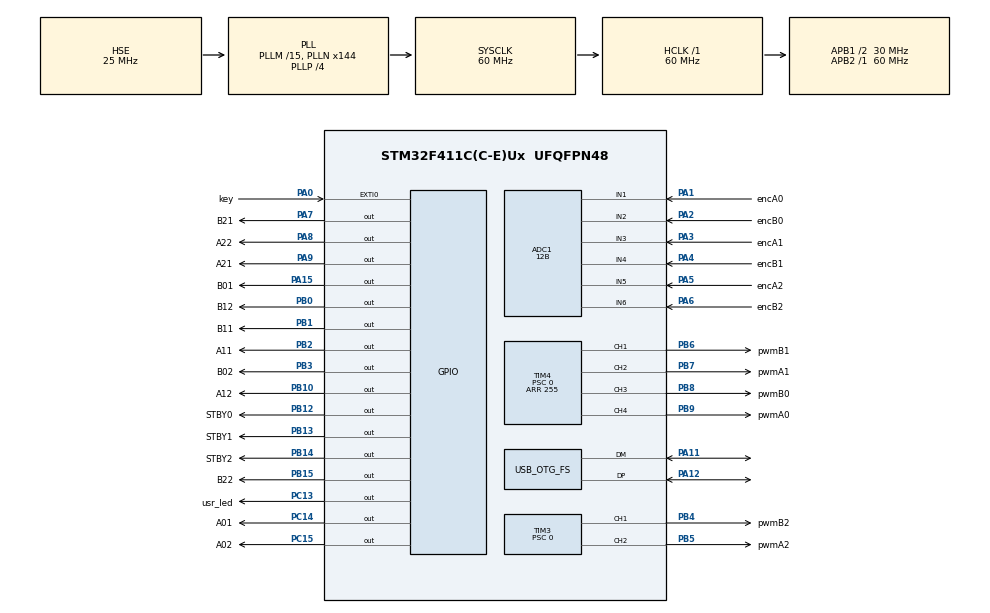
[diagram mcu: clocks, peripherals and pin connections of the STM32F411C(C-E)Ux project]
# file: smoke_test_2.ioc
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ADC1.Channel-0\#ChannelRegularConversion=ADC_CHANNEL_1
ADC1.Channel-1\#ChannelRegularConversion=ADC_CHANNEL_2
ADC1.Channel-2\#ChannelRegularConversion=ADC_CHANNEL_3
ADC1.Channel-3\#ChannelRegularConversion=ADC_CHANNEL_4
ADC1.Channel-4\#ChannelRegularConversion=ADC_CHANNEL_5
ADC1.Channel-5\#ChannelRegularConversion=ADC_CHANNEL_6
ADC1.ContinuousConvMode=ENABLE
ADC1.DMAContinuousRequests=ENABLE
ADC1.NbrOfConversion=6
ADC1.NbrOfConversionFlag=1
ADC1.Rank-0\#ChannelRegularConversion=1
ADC1.Rank-1\#ChannelRegularConversion=2
ADC1.Rank-2\#ChannelRegularConversion=3
ADC1.Rank-3\#ChannelRegularConversion=4
ADC1.Rank-4\#ChannelRegularConversion=5
ADC1.Rank-5\#ChannelRegularConversion=6
ADC1.Resolution=ADC_RESOLUTION_12B
ADC1.SamplingTime-0\#ChannelRegularConversion=ADC_SAMPLETIME_480CYCLES
ADC1.SamplingTime-1\#ChannelRegularConversion=ADC_SAMPLETIME_480CYCLES
ADC1.SamplingTime-2\#ChannelRegularConversion=ADC_SAMPLETIME_480CYCLES
ADC1.SamplingTime-3\#ChannelRegularConversion=ADC_SAMPLETIME_480CYCLES
ADC1.SamplingTime-4\#ChannelRegularConversion=ADC_SAMPLETIME_480CYCLES
ADC1.SamplingTime-5\#ChannelRegularConversion=ADC_SAMPLETIME_480CYCLES
ADC1.ScanConvMode=ENABLE
ADC1.master=1
Dma.ADC1.0.Direction=DMA_PERIPH_TO_MEMORY
Dma.ADC1.0.FIFOMode=DMA_FIFOMODE_DISABLE
Dma.ADC1.0.Instance=DMA2_Stream0
Dma.ADC1.0.MemDataAlignment=DMA_MDATAALIGN_WORD
Dma.ADC1.0.MemInc=DMA_MINC_ENABLE
Dma.ADC1.0.Mode=DMA_CIRCULAR
Dma.ADC1.0.PeriphDataAlignment=DMA_PDATAALIGN_WORD
Dma.ADC1.0.PeriphInc=DMA_PINC_DISABLE
Dma.ADC1.0.Priority=DMA_PRIORITY_LOW
Dma.Request0=ADC1
Mcu.Family=STM32F4
Mcu.Name=STM32F411C(C-E)Ux
Mcu.Package=UFQFPN48
NVIC.EXTI0_IRQn=true\:0\:0\:false\:false\:true\:true\:true\:true
NVIC.OTG_FS_IRQn=true\:0\:0\:true\:false\:true\:false\:true\:true
NVIC.PriorityGroup=NVIC_PRIORITYGROUP_4
PA0-WKUP.GPIO_Label=key
PA0-WKUP.GPIO_PuPd=GPIO_PULLUP
PA0-WKUP.Signal=GPXTI0
PA1.GPIO_Label=encA0
PA1.Signal=ADCx_IN1
PA11.Mode=Device_Only
PA11.Signal=USB_OTG_FS_DM
PA12.Mode=Device_Only
PA12.Signal=USB_OTG_FS_DP
PA13.Mode=Serial_Wire
PA13.Signal=SYS_JTMS-SWDIO
PA14.Mode=Serial_Wire
PA14.Signal=SYS_JTCK-SWCLK
PA15.GPIO_Label=B01
PA15.Signal=GPIO_Output
PA2.GPIO_Label=encB0
PA2.Signal=ADCx_IN2
PA3.GPIO_Label=encA1
PA3.Signal=ADCx_IN3
PA4.GPIO_Label=encB1
PA4.Signal=ADCx_IN4
PA5.GPIO_Label=encA2
PA5.Signal=ADCx_IN5
PA6.GPIO_Label=encB2
PA6.Signal=ADCx_IN6
PA7.GPIO_Label=B21
PA7.Signal=GPIO_Output
PA8.GPIO_Label=A22
PA8.Signal=GPIO_Output
PA9.GPIO_Label=A21
PA9.Signal=GPIO_Output
PB0.GPIO_Label=B12
PB0.Signal=GPIO_Output
PB1.GPIO_Label=B11
PB1.Signal=GPIO_Output
PB10.GPIO_Label=A12
PB10.Signal=GPIO_Output
PB12.GPIO_Label=STBY0
PB12.Signal=GPIO_Output
PB13.GPIO_Label=STBY1
PB13.Signal=GPIO_Output
PB14.GPIO_Label=STBY2
PB14.Signal=GPIO_Output
PB15.GPIO_Label=B22
PB15.Signal=GPIO_Output
PB2.GPIO_Label=A11
PB2.Signal=GPIO_Output
PB3.GPIO_Label=B02
PB3.Signal=GPIO_Output
PB4.GPIO_Label=pwmB2
PB4.Signal=S_TIM3_CH1
PB5.GPIO_Label=pwmA2
PB5.Signal=S_TIM3_CH2
PB6.GPIO_Label=pwmB1
PB6.Signal=S_TIM4_CH1
PB7.GPIO_Label=pwmA1
PB7.Signal=S_TIM4_CH2
PB8.GPIO_Label=pwmB0
PB8.Signal=S_TIM4_CH3
PB9.GPIO_Label=pwmA0
PB9.Signal=S_TIM4_CH4
PC13-ANTI_TAMP.GPIO_Label=usr_led
PC13-ANTI_TAMP.Signal=GPIO_Output
PC14-OSC32_IN.GPIO_Label=A01
PC14-OSC32_IN.Signal=GPIO_Output
PC15-OSC32_OUT.GPIO_Label=A02
PC15-OSC32_OUT.Signal=GPIO_Output
PH0\ -\ OSC_IN.Mode=HSE-External-Oscillator
PH0\ -\ OSC_IN.Signal=RCC_OSC_IN
PH1\ -\ OSC_OUT.Mode=HSE-External-Oscillator
PH1\ -\ OSC_OUT.Signal=RCC_OSC_OUT
ProjectManager.HeapSize=0x200
ProjectManager.StackSize=0x400
ProjectManager.TargetToolchain=CMake
RCC.48MHZClocksFreq_Value=48000000
RCC.AHBFreq_Value=60000000
RCC.APB1CLKDivider=RCC_HCLK_DIV2
RCC.APB1Freq_Value=30000000
RCC.APB1TimFreq_Value=60000000
RCC.APB2Freq_Value=60000000
RCC.APB2TimFreq_Value=60000000
RCC.CortexFreq_Value=60000000
RCC.HCLKFreq_Value=60000000
RCC.HSE_VALUE=25000000
RCC.HSI_VALUE=16000000
RCC.LSE_VALUE=32768
RCC.PLLM=15
RCC.PLLN=144
RCC.PLLP=RCC_PLLP_DIV4
RCC.PLLQ=5
RCC.SYSCLKFreq_VALUE=60000000
RCC.SYSCLKSource=RCC_SYSCLKSOURCE_PLLCLK
RCC.VCOOutputFreq_Value=240000000
SH.ADCx_IN1.0=ADC1_IN1,IN1
SH.ADCx_IN2.0=ADC1_IN2,IN2
SH.ADCx_IN3.0=ADC1_IN3,IN3
SH.ADCx_IN4.0=ADC1_IN4,IN4
SH.ADCx_IN5.0=ADC1_IN5,IN5
SH.ADCx_IN6.0=ADC1_IN6,IN6
SH.S_TIM3_CH1.0=TIM3_CH1,PWM Generation1 CH1
SH.S_TIM3_CH2.0=TIM3_CH2,PWM Generation2 CH2
SH.S_TIM4_CH1.0=TIM4_CH1,PWM Generation1 CH1
SH.S_TIM4_CH2.0=TIM4_CH2,PWM Generation2 CH2
SH.S_TIM4_CH3.0=TIM4_CH3,PWM Generation3 CH3
SH.S_TIM4_CH4.0=TIM4_CH4,PWM Generation4 CH4
TIM3.AutoReloadPreload=TIM_AUTORELOAD_PRELOAD_ENABLE
TIM3.Channel-PWM\ Generation1\ CH1=TIM_CHANNEL_1
TIM3.Channel-PWM\ Generation2\ CH2=TIM_CHANNEL_2
TIM3.Period=255
TIM3.Prescaler=0
TIM4.AutoReloadPreload=TIM_AUTORELOAD_PRELOAD_ENABLE
TIM4.Channel-PWM\ Generation1\ CH1=TIM_CHANNEL_1
TIM4.Channel-PWM\ Generation2\ CH2=TIM_CHANNEL_2
TIM4.Channel-PWM\ Generation3\ CH3=TIM_CHANNEL_3
TIM4.Channel-PWM\ Generation4\ CH4=TIM_CHANNEL_4
TIM4.Period=255
TIM4.Prescaler=0
USB_DEVICE.CLASS_NAME_FS=CDC
USB_DEVICE.VirtualMode=Cdc
USB_DEVICE.VirtualModeFS=Cdc_FS
USB_OTG_FS.VirtualMode=Device_Only
VP_USB_DEVICE_VS_USB_DEVICE_CDC_FS.Mode=CDC_FS
board=custom

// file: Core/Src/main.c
/* USER CODE BEGIN Header */
/* USER CODE END Header */
#include "main.h"
#include "usb_device.h"

/* USER CODE BEGIN Includes */
#include "usbd_cdc_if.h"
#include <stdint.h>
#include <string.h>
#include <stdio.h>
#include <microrl.h>
extern uint8_t UserRxBufferFS[APP_RX_DATA_SIZE];
/* USER CODE END Includes */

ADC_HandleTypeDef hadc1;
DMA_HandleTypeDef hdma_adc1;

TIM_HandleTypeDef htim3;
TIM_HandleTypeDef htim4;

/* USER CODE BEGIN PV */
// create microrl object and pointer on it
microrl_t rl;
microrl_t * prl = &rl;
/* USER CODE END PV */

void SystemClock_Config(void);
static void MX_GPIO_Init(void);
static void MX_DMA_Init(void);
static void MX_ADC1_Init(void);
static void MX_TIM3_Init(void);
static void MX_TIM4_Init(void);

/* USER CODE BEGIN 0 */

/* --------------- motor control ---------------*/

typedef struct {
uint8_t pwm;
uint8_t direction;
uint16_t pos;

uint16_t target_pos;
uint8_t target_pwm;    // (speed limit)
uint8_t pos_control;   // (enable flag)

uint16_t pos_start;
uint16_t pos_end;
uint8_t flip_dir;
} MotorState;

MotorState motors[6]; // 0:M0A, 1:M0B, 2:M1A, 3:M1B, 4:M2A, 5:M2B

uint8_t resolve_dir(MotorState* m)
{
    if (m->flip_dir)
        return (m->direction == 0) ? 1 : (m->direction == 1) ? 0 : m->direction;
    return m->direction;
}

void motor_control(MotorState* m)
{
    GPIO_PinState in1_state[4] = {GPIO_PIN_SET, GPIO_PIN_RESET, GPIO_PIN_SET, GPIO_PIN_RESET};
    GPIO_PinState in2_state[4] = {GPIO_PIN_RESET, GPIO_PIN_SET, GPIO_PIN_SET, GPIO_PIN_RESET};

    uint8_t d;

    d = resolve_dir(&m[0]);
    HAL_GPIO_WritePin(A01_GPIO_Port, A01_Pin, in1_state[d]);
    HAL_GPIO_WritePin(A02_GPIO_Port, A02_Pin, in2_state[d]);
    TIM4->CCR4 = m[0].pwm;

    d = resolve_dir(&m[1]);
    HAL_GPIO_WritePin(B01_GPIO_Port, B01_Pin, in1_state[d]);
    HAL_GPIO_WritePin(B02_GPIO_Port, B02_Pin, in2_state[d]);
    TIM4->CCR3 = m[1].pwm;

    d = resolve_dir(&m[2]);
    HAL_GPIO_WritePin(A11_GPIO_Port, A11_Pin, in1_state[d]);
    HAL_GPIO_WritePin(A12_GPIO_Port, A12_Pin, in2_state[d]);
    TIM4->CCR2 = m[2].pwm;

    d = resolve_dir(&m[3]);
    HAL_GPIO_WritePin(B11_GPIO_Port, B11_Pin, in1_state[d]);
    HAL_GPIO_WritePin(B12_GPIO_Port, B12_Pin, in2_state[d]);
    TIM4->CCR1 = m[3].pwm;

    d = resolve_dir(&m[4]);
    HAL_GPIO_WritePin(A21_GPIO_Port, A21_Pin, in1_state[d]);
    HAL_GPIO_WritePin(A22_GPIO_Port, A22_Pin, in2_state[d]);
    TIM3->CCR2 = m[4].pwm;

    d = resolve_dir(&m[5]);
    HAL_GPIO_WritePin(B21_GPIO_Port, B21_Pin, in1_state[d]);
    HAL_GPIO_WritePin(B22_GPIO_Port, B22_Pin, in2_state[d]);
    TIM3->CCR1 = m[5].pwm;

    // STBY uses resolved direction too
    HAL_GPIO_WritePin(STBY0_GPIO_Port, STBY0_Pin, (resolve_dir(&m[0]) == 3 && resolve_dir(&m[1]) == 3) ? GPIO_PIN_RESET : GPIO_PIN_SET);
    HAL_GPIO_WritePin(STBY1_GPIO_Port, STBY1_Pin, (resolve_dir(&m[2]) == 3 && resolve_dir(&m[3]) == 3) ? GPIO_PIN_RESET : GPIO_PIN_SET);
    HAL_GPIO_WritePin(STBY2_GPIO_Port, STBY2_Pin, (resolve_dir(&m[4]) == 3 && resolve_dir(&m[5]) == 3) ? GPIO_PIN_RESET : GPIO_PIN_SET);
}

uint16_t pos_deadband = 10;   // acceptable error
uint8_t pos_kp = 2;          // gain (tune this)

void position_control()
{
    for (int i = 0; i < 6; i++)
    {
        if (!motors[i].pos_control)
            continue;

        int error = motors[i].target_pos - motors[i].pos;

        if (error > pos_deadband)
        {
            motors[i].direction = 1;
            int pwm = error * pos_kp;

            if (pwm > motors[i].target_pwm)
                pwm = motors[i].target_pwm;

            motors[i].pwm = pwm;
        }
        else if (error < -pos_deadband)
        {
            motors[i].direction = 0;
            int pwm = (-error) * pos_kp;

            if (pwm > motors[i].target_pwm)
                pwm = motors[i].target_pwm;

            motors[i].pwm = pwm;
        }
        else
        {
            // reached position
            motors[i].pwm = 0;
        }
    }
}

/* ------------ encoder input ------------ */

// circular buffer per channel
uint16_t median_buf[6][3] = {0};
uint8_t median_idx[6] = {0};

uint16_t median3(uint16_t a, uint16_t b, uint16_t c)
{
    if (a > b) { uint16_t t = a; a = b; b = t; }
    if (b > c) { uint16_t t = b; b = c; c = t; }
    if (a > b) { uint16_t t = a; a = b; b = t; }
    return b;  // middle value
}

uint32_t AD_RES_BUFFER[6] = {0};

uint8_t enable_adc_filter = 1;

// Spike rejection
uint16_t spike_threshold = 30;

// Smoothing strength (1–255)
// higher = smoother but slower
uint8_t smooth_k = 10;

// Deadband (kills small noise completely)
uint16_t deadband = 12;

// Optional max step (rate limiter) (sets the max speed of the motor basically)
uint16_t max_step = 20;
uint8_t enable_rate_limit = 0;

uint16_t adc_filtered[6] = {0};
uint8_t adc_initialized[6] = {0};

// uint16_t debug_raw = 0;
// uint16_t debug_prev = 0;
// uint16_t debug_AD_RES_BUFFER = 0;
// int debug_count  = 0;

uint16_t spike_start_delay = 200;  // tune this
uint16_t adc_init_count[6] = {0};

void read_ADC()
{
    for (int i = 0; i < 6; i++)
    {
        uint16_t raw = (uint16_t)AD_RES_BUFFER[i];
        // debug_raw = raw;

        uint16_t prev = adc_filtered[i];
        // debug_prev = prev;

        if (enable_adc_filter)
        {
            // ---- 0. median filtering ----
            // feed the buffer
            median_buf[i][median_idx[i]] = raw;
            median_idx[i] = (median_idx[i] + 1) % 3;

            // use median as raw from here on
            raw = median3(median_buf[i][0], median_buf[i][1], median_buf[i][2]);

            // ---- 1. Spike rejection (delayed start) ----
            if (adc_init_count[i] < spike_start_delay)
            {
                adc_init_count[i]++;
            }
            else
            {
                if (raw > prev + spike_threshold || raw + spike_threshold < prev)
                    raw = prev;
            }

            // ---- 2. Deadband (this is what reduces "range to ~0") ----
            if (raw > prev)
            {
                if (raw - prev < deadband)
                    raw = prev;
            }
            else
            {
                if (prev - raw < deadband)
                    raw = prev;
            }

            // ---- 3. Exponential smoothing ----
            // new = (k*prev + raw) / (k+1)
            uint16_t filtered = (prev * smooth_k + raw) / (smooth_k + 1);

            // ---- 4. Optional rate limiter ----
            if (enable_rate_limit)
            {
                if (filtered > prev + max_step)
                    filtered = prev + max_step;
                else if (filtered + max_step < prev)
                    filtered = prev - max_step;
            }

            adc_filtered[i] = filtered;
            motors[i].pos = filtered;
        }
        else
        {
            motors[i].pos = raw;
            adc_filtered[i] = raw;
        }
    }
}

/*-------------------- adc filter analysis --------------------*/
    // #define VAR_SAMPLES 8
    int var_samples = 64;
    int var_to_check = 0;

    uint16_t adc_prev[6] = {0};
    uint32_t adc_diff_sum[6] = {0};
    uint16_t adc_variation[6] = {0};
    uint16_t var_count[6] = {0};   // per-channel counter

    void measure_adc_variation(uint8_t idx)
    {
        uint16_t curr = (uint16_t)AD_RES_BUFFER[idx];
        uint16_t prev = adc_prev[idx];

        uint16_t diff;
        if (curr > prev) diff = curr - prev;
        else diff = prev - curr;

        adc_diff_sum[idx] += diff;
        adc_prev[idx] = curr;

        var_count[idx]++;

        if (var_count[idx] >= var_samples)
        {
            adc_variation[idx] = adc_diff_sum[idx] / var_samples;
            adc_diff_sum[idx] = 0;
            var_count[idx] = 0;
        }
    }

    // ----- RANGE CONFIG -----
    int range_samples = 64;
    int range_to_check = 0;

    // ----- RANGE STATE -----
    uint16_t adc_range_min[6] = {65535,65535,65535,65535,65535,65535};
    uint16_t adc_range_max[6] = {0};
    uint16_t adc_range[6] = {0};
    uint16_t range_count[6] = {0};

    // ----- FUNCTION -----
    void measure_adc_range(uint8_t idx)
    {
        uint16_t curr = (uint16_t)AD_RES_BUFFER[idx];

        // track min
        if (curr < adc_range_min[idx])
        {
            adc_range_min[idx] = curr;
        }

        // track max
        if (curr > adc_range_max[idx])
        {
            adc_range_max[idx] = curr;
        }

        range_count[idx]++;

        if (range_count[idx] >= range_samples)
        {
            adc_range[idx] = adc_range_max[idx] - adc_range_min[idx];

            // reset window
            adc_range_min[idx] = 65535;
            adc_range_max[idx] = 0;
            range_count[idx] = 0;
        }
    }

void HAL_GPIO_EXTI_Callback(uint16_t GPIO_Pin)
{
    if (GPIO_Pin == key_Pin)
    {
        HAL_GPIO_TogglePin(usr_led_GPIO_Port, usr_led_Pin);
    }
}

// void HAL_ADC_ConvCpltCallback(ADC_HandleTypeDef* hadc)
// {
//     adc_flag = 1;
// }

/*----------------microrl and USB CDC----------------*/

    uint8_t TxBuffer[] = "Hello World! From STM32 USB CDC Device To Virtual COM Port\r\n";
    volatile uint8_t usb_rx_flag = 0;
    uint32_t usb_rx_len = 0;

    #define RX_BUF_SIZE 256

    uint8_t rx_buf[RX_BUF_SIZE];
    volatile uint16_t rx_head = 0;
    volatile uint16_t rx_tail = 0;

    void USB_CDC_RxHandler(uint8_t* Buf, uint32_t Len)
    {
        for (uint32_t i = 0; i < Len; i++)
        {
            uint16_t next = (rx_head + 1) % RX_BUF_SIZE;

            if (next != rx_tail)   // avoid overflow
            {
                rx_buf[rx_head] = Buf[i];
                rx_head = next;
            }
        }
    }

    char debug_argv_id[4];

    int get_motor_index(const char* id)
    {
        if      (strcmp(id, "M0A") == 0) return 0;
        else if (strcmp(id, "M0B") == 0) return 1;
        else if (strcmp(id, "M1A") == 0) return 2;
        else if (strcmp(id, "M1B") == 0) return 3;
        else if (strcmp(id, "M2A") == 0) return 4;
        else if (strcmp(id, "M2B") == 0) return 5;

        return -1;
    }

    void print(const char * str)
    {
        while (CDC_Transmit_FS((uint8_t*)str, strlen(str)) == USBD_BUSY);
    }

    volatile uint8_t sigint_flag = 0;

    void sigint(void)
    {
        memset(motors, 0, sizeof(motors));
        sigint_flag = 1;
    }

    typedef enum {
        PARAM_U8,
        PARAM_U16,
        PARAM_INT
    } ParamType;

    typedef struct {
        const char* name;
        void* ptr;
        ParamType type;
    } Param;

    Param params[] = {
        {"spike_threshold", &spike_threshold, PARAM_U16},
        {"enable_adc_filter", &enable_adc_filter, PARAM_U8},
        {"var_samples", &var_samples, PARAM_INT},
        {"var_to_check", &var_to_check, PARAM_INT},
        {"range_samples", &range_samples, PARAM_INT},
        {"range_to_check", &range_to_check, PARAM_INT},
        {"smooth_k", &smooth_k, PARAM_U8},
        {"deadband", &deadband, PARAM_U16},
        {"max_step", &max_step, PARAM_U16},
        {"enable_rate_limit", &enable_rate_limit, PARAM_U8},
        {"spike_start_delay", &spike_start_delay, PARAM_U16},
        {"pos_deadband", &pos_deadband, PARAM_U16},
        {"pos_kp", &pos_kp, PARAM_U8}
    };

    #define PARAM_COUNT (sizeof(params) / sizeof(params[0]))

    int execute(int argc, const char * const *argv)
    {
        if (argc == 0) return 0;

        // ---------------- setmotor ----------------
        if (strcmp(argv[0], "setmotor") == 0)
        {
            if (argc != 4)
            {
                print("Usage: setmotor <motor> <pwm> <dir>\n");
                return 0;
            }

            int index = get_motor_index(argv[1]);
            if (index == -1)
            {
                print("Invalid motor\n");
                return 0;
            }

            int pwm = atoi(argv[2]);
            int dir = atoi(argv[3]);

            motors[index].pwm = pwm;
            motors[index].direction = dir;

            print("OK\n");
            return 1;
        }

        // ---------------- stop ----------------
        if (strcmp(argv[0], "stop") == 0)
        {
            if (argc == 1)
            {
                memset(motors, 0, sizeof(motors));
                print("All motors stopped\n");
                return 1;
            }

            if (argc == 2)
            {
                int index = get_motor_index(argv[1]);
                if (index == -1)
                {
                    print("Invalid motor\n");
                    return 0;
                }

                motors[index].pwm = 0;
                motors[index].direction = 0;

                print("Motor stopped\n");
                return 1;
            }

            print("Usage: stop [motor]\n");
            return 0;
        }

        // ---------------- setparam ----------------
        if (strcmp(argv[0], "setparam") == 0)
        {
            if (argc != 3)
            {
                print("Usage: setparam <param> <value>\n");
                return 0;
            }

            int value = atoi(argv[2]);

            for (int i = 0; i < PARAM_COUNT; i++)
            {
                if (strcmp(argv[1], params[i].name) == 0)
                {
                    switch (params[i].type)
                        {
                            case PARAM_U8:
                                *(uint8_t*)params[i].ptr = (uint8_t)value;
                                break;

                            case PARAM_U16:
                                *(uint16_t*)params[i].ptr = (uint16_t)value;
                                break;

                            case PARAM_INT:
                                *(int*)params[i].ptr = value;
                                break;
                        }
                    print("OK\n");
                    return 1;
                }
            }

            print("Unknown parameter\n");
            return 0;
        }

        // ---------------- getparam ----------------
        if (strcmp(argv[0], "getparam") == 0)
        {
            if (argc != 2)
            {
                print("Usage: getparam <param>\n");
                return 0;
            }

            char buf[32];

            for (int i = 0; i < PARAM_COUNT; i++)
            {
                if (strcmp(argv[1], params[i].name) == 0)
                {
                    int val = 0;
                    switch (params[i].type)
                    {
                        case PARAM_U8:
                            val = *(uint8_t*)params[i].ptr;
                            break;

                        case PARAM_U16:
                            val = *(uint16_t*)params[i].ptr;
                            break;

                        case PARAM_INT:
                            val = *(int*)params[i].ptr;
                            break;
                    }
                    sprintf(buf, "%d\n", val);
                    print(buf);
                    return 1;
                }
            }

            print("Unknown parameter\n");
            return 0;
        }
        // ---------------- listparams ----------------
        if (strcmp(argv[0], "listparams") == 0)
        {
            char buf[256];
            int len = 0;

            for (int i = 0; i < PARAM_COUNT; i++)
            {
                int written = snprintf(buf + len, sizeof(buf) - len, "%s\r\n", params[i].name);

                if (written <= 0 || len + written >= sizeof(buf))
                    break;

                len += written;
            }

            print(buf);
            return 1;
        }

        // ----------------- setpos ----------------

        if (strcmp(argv[0], "setpos") == 0)
        {
            if (argc != 4)
            {
                print("Usage: setpos <motor> <pos> <speed>\n");
                return 0;
            }

            int index = get_motor_index(argv[1]);
            if (index == -1)
            {
                print("Invalid motor\n");
                return 0;
            }

            int pos = atoi(argv[2]);
            int speed = atoi(argv[3]);

            motors[index].target_pos = pos;
            motors[index].target_pwm = speed;
            motors[index].pos_control = 1;

            print("OK\n");
            return 1;
        }

        // ----------------- getpos ----------------
        if (strcmp(argv[0], "getpos") == 0)
        {
            if (argc != 2)
            {
                print("Usage: getpos <motor>\n");
                return 0;
            }

            int index = get_motor_index(argv[1]);
            if (index == -1)
            {
                print("Invalid motor\n");
                return 0;
            }

            char buf[32];
            sprintf(buf, "%d\n", motors[index].pos);
            print(buf);

            return 1;
        }

        // ---------------- flip_dir ----------------
        if (strcmp(argv[0], "flip_dir") == 0)
        {
            if (argc != 3)
            {
                print("Usage: flip_dir <motor> <0|1>\n");
                return 0;
            }

            int index = get_motor_index(argv[1]);
            if (index == -1)
            {
                print("Invalid motor\n");
                return 0;
            }

            int val = atoi(argv[2]);

            if (val != 0 && val != 1)
            {
                print("Value must be 0 or 1\n");
                return 0;
            }

            motors[index].flip_dir = val;

            print("OK\n");
            return 1;
        }

        // ---------------- get_flip_dir ----------------
        if (strcmp(argv[0], "get_flip_dir") == 0)
        {
            if (argc != 2)
            {
                print("Usage: get_flip_dir <motor>\n");
                return 0;
            }

            int index = get_motor_index(argv[1]);
            if (index == -1)
            {
                print("Invalid motor\n");
                return 0;
            }

            char buf[16];
            sprintf(buf, "%d\n", motors[index].flip_dir);
            print(buf);

            return 1;
        }

        // ---------------- stoppos ----------------
        if (strcmp(argv[0], "stoppos") == 0)
        {
            if (argc != 2)
            {
                print("Usage: stoppos <motor>\n");
                return 0;
            }

            int index = get_motor_index(argv[1]);
            if (index == -1)
            {
                print("Invalid motor\n");
                return 0;
            }

            motors[index].pos_control = 0;

            // optional: also stop motor immediately
            motors[index].pwm = 0;

            print("OK\n");
            return 1;
        }

        // ---------------- fallback ----------------
        print("Unknown command\n");
        return 0;
    }

/* USER CODE END 0 */

int main(void)
{

  /* MCU Configuration--------------------------------------------------------*/

  /* Reset of all peripherals, Initializes the Flash interface and the Systick. */
  HAL_Init();

  /* USER CODE BEGIN Init */
  microrl_init(prl, print);
  microrl_set_execute_callback(prl, execute);
  microrl_set_sigint_callback(prl, sigint);
  // microrl_set_echo(prl, 0);
  /* USER CODE END Init */

  /* Configure the system clock */
  SystemClock_Config();

  /* Initialize all configured peripherals */
  MX_GPIO_Init();
  MX_DMA_Init();
  MX_ADC1_Init();
  MX_TIM3_Init();
  MX_TIM4_Init();
  MX_USB_DEVICE_Init();
  /* USER CODE BEGIN 2 */
  HAL_TIM_PWM_Start(&htim3, TIM_CHANNEL_1);
  HAL_TIM_PWM_Start(&htim3, TIM_CHANNEL_2);
  HAL_TIM_PWM_Start(&htim4, TIM_CHANNEL_1);
  HAL_TIM_PWM_Start(&htim4, TIM_CHANNEL_2);
  HAL_TIM_PWM_Start(&htim4, TIM_CHANNEL_3);
  HAL_TIM_PWM_Start(&htim4, TIM_CHANNEL_4);

  HAL_ADC_Start_DMA(&hadc1, AD_RES_BUFFER, 6);

  HAL_GPIO_WritePin(usr_led_GPIO_Port, usr_led_Pin, 1);
  memset(motors, 0, sizeof(motors));
  /* USER CODE END 2 */

  /* Infinite loop */
  while (1)
  {

    /* USER CODE BEGIN 3 */
    // Apply motor control continuously for all 6 motors
    read_ADC();
    // measure_adc_variation(var_to_check);
    measure_adc_range(range_to_check);
    position_control();
    motor_control(motors);

    while (rx_tail != rx_head)
    {
        uint8_t ch = rx_buf[rx_tail];
        rx_tail = (rx_tail + 1) % RX_BUF_SIZE;

        microrl_insert_char(prl, ch);
    }

    if (sigint_flag)
    {
        CDC_Transmit_FS((uint8_t*)"SIGINT\n", 7);
        sigint_flag = 0;
    }
  }
  /* USER CODE END 3 */
}

void SystemClock_Config(void)
{
  RCC_OscInitTypeDef RCC_OscInitStruct = {0};
  RCC_ClkInitTypeDef RCC_ClkInitStruct = {0};

  /** Configure the main internal regulator output voltage
  */
  __HAL_RCC_PWR_CLK_ENABLE();
  __HAL_PWR_VOLTAGESCALING_CONFIG(PWR_REGULATOR_VOLTAGE_SCALE1);

  /** Initializes the RCC Oscillators according to the specified parameters
  * in the RCC_OscInitTypeDef structure.
  */
  RCC_OscInitStruct.OscillatorType = RCC_OSCILLATORTYPE_HSE;
  RCC_OscInitStruct.HSEState = RCC_HSE_ON;
  RCC_OscInitStruct.PLL.PLLState = RCC_PLL_ON;
  RCC_OscInitStruct.PLL.PLLSource = RCC_PLLSOURCE_HSE;
  RCC_OscInitStruct.PLL.PLLM = 15;
  RCC_OscInitStruct.PLL.PLLN = 144;
  RCC_OscInitStruct.PLL.PLLP = RCC_PLLP_DIV4;
  RCC_OscInitStruct.PLL.PLLQ = 5;
  if (HAL_RCC_OscConfig(&RCC_OscInitStruct) != HAL_OK)
  {
    Error_Handler();
  }

  /** Initializes the CPU, AHB and APB buses clocks
  */
  RCC_ClkInitStruct.ClockType = RCC_CLOCKTYPE_HCLK|RCC_CLOCKTYPE_SYSCLK
                              |RCC_CLOCKTYPE_PCLK1|RCC_CLOCKTYPE_PCLK2;
  RCC_ClkInitStruct.SYSCLKSource = RCC_SYSCLKSOURCE_PLLCLK;
  RCC_ClkInitStruct.AHBCLKDivider = RCC_SYSCLK_DIV1;
  RCC_ClkInitStruct.APB1CLKDivider = RCC_HCLK_DIV2;
  RCC_ClkInitStruct.APB2CLKDivider = RCC_HCLK_DIV1;

  if (HAL_RCC_ClockConfig(&RCC_ClkInitStruct, FLASH_LATENCY_1) != HAL_OK)
  {
    Error_Handler();
  }
}

static void MX_ADC1_Init(void)
{

  ADC_ChannelConfTypeDef sConfig = {0};

  /** Configure the global features of the ADC (Clock, Resolution, Data Alignment and number of conversion)
  */
  hadc1.Instance = ADC1;
  hadc1.Init.ClockPrescaler = ADC_CLOCK_SYNC_PCLK_DIV2;
  hadc1.Init.Resolution = ADC_RESOLUTION_12B;
  hadc1.Init.ScanConvMode = ENABLE;
  hadc1.Init.ContinuousConvMode = ENABLE;
  hadc1.Init.DiscontinuousConvMode = DISABLE;
  hadc1.Init.ExternalTrigConvEdge = ADC_EXTERNALTRIGCONVEDGE_NONE;
  hadc1.Init.ExternalTrigConv = ADC_SOFTWARE_START;
  hadc1.Init.DataAlign = ADC_DATAALIGN_RIGHT;
  hadc1.Init.NbrOfConversion = 6;
  hadc1.Init.DMAContinuousRequests = ENABLE;
  hadc1.Init.EOCSelection = ADC_EOC_SINGLE_CONV;
  if (HAL_ADC_Init(&hadc1) != HAL_OK)
  {
    Error_Handler();
  }

  /** Configure for the selected ADC regular channel its corresponding rank in the sequencer and its sample time.
  */
  sConfig.Channel = ADC_CHANNEL_1;
  sConfig.Rank = 1;
  sConfig.SamplingTime = ADC_SAMPLETIME_480CYCLES;
  if (HAL_ADC_ConfigChannel(&hadc1, &sConfig) != HAL_OK)
  {
    Error_Handler();
  }

  /** Configure for the selected ADC regular channel its corresponding rank in the sequencer and its sample time.
  */
  sConfig.Channel = ADC_CHANNEL_2;
  sConfig.Rank = 2;
  if (HAL_ADC_ConfigChannel(&hadc1, &sConfig) != HAL_OK)
  {
    Error_Handler();
  }

  /** Configure for the selected ADC regular channel its corresponding rank in the sequencer and its sample time.
  */
  sConfig.Channel = ADC_CHANNEL_3;
  sConfig.Rank = 3;
  if (HAL_ADC_ConfigChannel(&hadc1, &sConfig) != HAL_OK)
  {
    Error_Handler();
  }

  /** Configure for the selected ADC regular channel its corresponding rank in the sequencer and its sample time.
  */
  sConfig.Channel = ADC_CHANNEL_4;
  sConfig.Rank = 4;
  if (HAL_ADC_ConfigChannel(&hadc1, &sConfig) != HAL_OK)
  {
    Error_Handler();
  }

  /** Configure for the selected ADC regular channel its corresponding rank in the sequencer and its sample time.
  */
  sConfig.Channel = ADC_CHANNEL_5;
  sConfig.Rank = 5;
  if (HAL_ADC_ConfigChannel(&hadc1, &sConfig) != HAL_OK)
  {
    Error_Handler();
  }

  /** Configure for the selected ADC regular channel its corresponding rank in the sequencer and its sample time.
  */
  sConfig.Channel = ADC_CHANNEL_6;
  sConfig.Rank = 6;
  if (HAL_ADC_ConfigChannel(&hadc1, &sConfig) != HAL_OK)
  {
    Error_Handler();
  }

}

static void MX_TIM3_Init(void)
{

  TIM_MasterConfigTypeDef sMasterConfig = {0};
  TIM_OC_InitTypeDef sConfigOC = {0};

  htim3.Instance = TIM3;
  htim3.Init.Prescaler = 0;
  htim3.Init.CounterMode = TIM_COUNTERMODE_UP;
  htim3.Init.Period = 255;
  htim3.Init.ClockDivision = TIM_CLOCKDIVISION_DIV1;
  htim3.Init.AutoReloadPreload = TIM_AUTORELOAD_PRELOAD_ENABLE;
  if (HAL_TIM_PWM_Init(&htim3) != HAL_OK)
  {
    Error_Handler();
  }
  sMasterConfig.MasterOutputTrigger = TIM_TRGO_RESET;
  sMasterConfig.MasterSlaveMode = TIM_MASTERSLAVEMODE_DISABLE;
  if (HAL_TIMEx_MasterConfigSynchronization(&htim3, &sMasterConfig) != HAL_OK)
  {
    Error_Handler();
  }
  sConfigOC.OCMode = TIM_OCMODE_PWM1;
  sConfigOC.Pulse = 0;
  sConfigOC.OCPolarity = TIM_OCPOLARITY_HIGH;
  sConfigOC.OCFastMode = TIM_OCFAST_DISABLE;
  if (HAL_TIM_PWM_ConfigChannel(&htim3, &sConfigOC, TIM_CHANNEL_1) != HAL_OK)
  {
    Error_Handler();
  }
  if (HAL_TIM_PWM_ConfigChannel(&htim3, &sConfigOC, TIM_CHANNEL_2) != HAL_OK)
  {
    Error_Handler();
  }
  HAL_TIM_MspPostInit(&htim3);

}

static void MX_TIM4_Init(void)
{

  TIM_MasterConfigTypeDef sMasterConfig = {0};
  TIM_OC_InitTypeDef sConfigOC = {0};

  htim4.Instance = TIM4;
  htim4.Init.Prescaler = 0;
  htim4.Init.CounterMode = TIM_COUNTERMODE_UP;
  htim4.Init.Period = 255;
  htim4.Init.ClockDivision = TIM_CLOCKDIVISION_DIV1;
  htim4.Init.AutoReloadPreload = TIM_AUTORELOAD_PRELOAD_ENABLE;
  if (HAL_TIM_PWM_Init(&htim4) != HAL_OK)
  {
    Error_Handler();
  }
  sMasterConfig.MasterOutputTrigger = TIM_TRGO_RESET;
  sMasterConfig.MasterSlaveMode = TIM_MASTERSLAVEMODE_DISABLE;
  if (HAL_TIMEx_MasterConfigSynchronization(&htim4, &sMasterConfig) != HAL_OK)
  {
    Error_Handler();
  }
  sConfigOC.OCMode = TIM_OCMODE_PWM1;
  sConfigOC.Pulse = 0;
  sConfigOC.OCPolarity = TIM_OCPOLARITY_HIGH;
  sConfigOC.OCFastMode = TIM_OCFAST_DISABLE;
  if (HAL_TIM_PWM_ConfigChannel(&htim4, &sConfigOC, TIM_CHANNEL_1) != HAL_OK)
  {
    Error_Handler();
  }
  if (HAL_TIM_PWM_ConfigChannel(&htim4, &sConfigOC, TIM_CHANNEL_2) != HAL_OK)
  {
    Error_Handler();
  }
  if (HAL_TIM_PWM_ConfigChannel(&htim4, &sConfigOC, TIM_CHANNEL_3) != HAL_OK)
  {
    Error_Handler();
  }
  if (HAL_TIM_PWM_ConfigChannel(&htim4, &sConfigOC, TIM_CHANNEL_4) != HAL_OK)
  {
    Error_Handler();
  }
  HAL_TIM_MspPostInit(&htim4);

}

static void MX_DMA_Init(void)
{

  /* DMA controller clock enable */
  __HAL_RCC_DMA2_CLK_ENABLE();

}

static void MX_GPIO_Init(void)
{
  GPIO_InitTypeDef GPIO_InitStruct = {0};

  /* GPIO Ports Clock Enable */
  __HAL_RCC_GPIOC_CLK_ENABLE();
  __HAL_RCC_GPIOH_CLK_ENABLE();
  __HAL_RCC_GPIOA_CLK_ENABLE();
  __HAL_RCC_GPIOB_CLK_ENABLE();

  /*Configure GPIO pin Output Level */
  HAL_GPIO_WritePin(GPIOC, usr_led_Pin|A01_Pin|A02_Pin, GPIO_PIN_RESET);

  /*Configure GPIO pin Output Level */
  HAL_GPIO_WritePin(GPIOA, B21_Pin|A22_Pin|A21_Pin|B01_Pin, GPIO_PIN_RESET);

  /*Configure GPIO pin Output Level */
  HAL_GPIO_WritePin(GPIOB, B12_Pin|B11_Pin|A11_Pin|A12_Pin
                          |STBY0_Pin|STBY1_Pin|STBY2_Pin|B22_Pin
                          |B02_Pin, GPIO_PIN_RESET);

  /*Configure GPIO pins : usr_led_Pin A01_Pin A02_Pin */
  GPIO_InitStruct.Pin = usr_led_Pin|A01_Pin|A02_Pin;
  GPIO_InitStruct.Mode = GPIO_MODE_OUTPUT_PP;
  GPIO_InitStruct.Pull = GPIO_NOPULL;
  GPIO_InitStruct.Speed = GPIO_SPEED_FREQ_LOW;
  HAL_GPIO_Init(GPIOC, &GPIO_InitStruct);

  /*Configure GPIO pin : key_Pin */
  GPIO_InitStruct.Pin = key_Pin;
  GPIO_InitStruct.Mode = GPIO_MODE_IT_RISING;
  GPIO_InitStruct.Pull = GPIO_PULLUP;
  HAL_GPIO_Init(key_GPIO_Port, &GPIO_InitStruct);

  /*Configure GPIO pins : B21_Pin A22_Pin A21_Pin B01_Pin */
  GPIO_InitStruct.Pin = B21_Pin|A22_Pin|A21_Pin|B01_Pin;
  GPIO_InitStruct.Mode = GPIO_MODE_OUTPUT_PP;
  GPIO_InitStruct.Pull = GPIO_NOPULL;
  GPIO_InitStruct.Speed = GPIO_SPEED_FREQ_LOW;
  HAL_GPIO_Init(GPIOA, &GPIO_InitStruct);

  /*Configure GPIO pins : B12_Pin B11_Pin A11_Pin A12_Pin
                           STBY0_Pin STBY1_Pin STBY2_Pin B22_Pin
                           B02_Pin */
  GPIO_InitStruct.Pin = B12_Pin|B11_Pin|A11_Pin|A12_Pin
                          |STBY0_Pin|STBY1_Pin|STBY2_Pin|B22_Pin
                          |B02_Pin;
  GPIO_InitStruct.Mode = GPIO_MODE_OUTPUT_PP;
  GPIO_InitStruct.Pull = GPIO_NOPULL;
  GPIO_InitStruct.Speed = GPIO_SPEED_FREQ_LOW;
  HAL_GPIO_Init(GPIOB, &GPIO_InitStruct);

  /* EXTI interrupt init*/
  HAL_NVIC_SetPriority(EXTI0_IRQn, 0, 0);
  HAL_NVIC_EnableIRQ(EXTI0_IRQn);

}

void Error_Handler(void)
{
}
